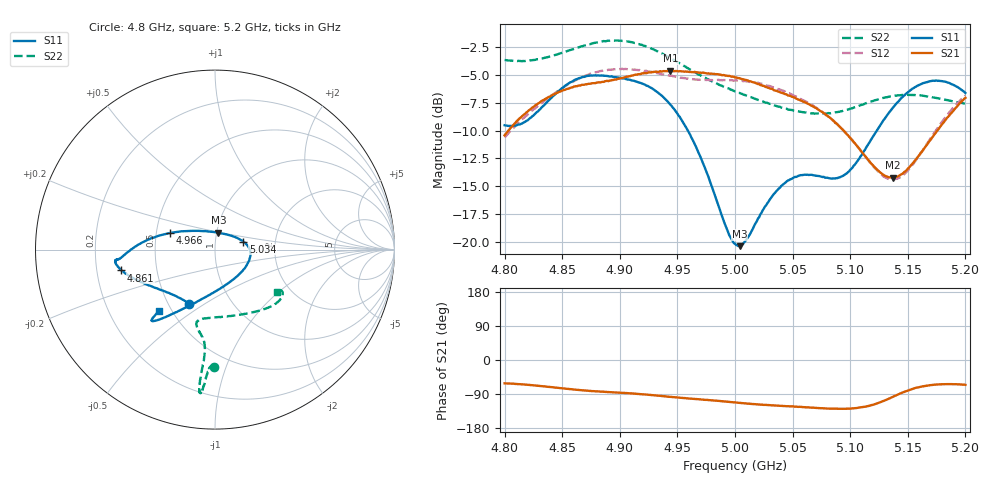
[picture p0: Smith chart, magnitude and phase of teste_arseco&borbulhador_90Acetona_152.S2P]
! Network Analyzer HP8722D
! Hewlett-Packard
! Data name: Linha & Wilkinson
! Saver's name: Rodrigo Anjos
! Comments: Teste da utilização de aquisição
! continua pelo VNA HP8722D
! Time and date: 17/4/2025 12:19
!  Frequency  S11  S21  S12  S22
# HZ  S  MA R 50
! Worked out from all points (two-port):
!   401 points, 4.8 GHz to 5.2 GHz, reference 50 ohm
!   highest |S21| = -4.63 dB at 4.944 GHz (marker M1); lowest = -14.2 dB at 5.137 GHz (marker M2)
!   |S21| within 3 dB of the highest: 4.828 GHz to 5.064 GHz (235.5 MHz wide, 4.76 % of centre); 5.194461 GHz to end of sweep
!   lowest |S11| = -20.4 dB at 5.004 GHz (marker M3), VSWR 1.21, Z = 51.1 + j9.63 ohm
!   |S11| at or under -10 dB: 4.959 GHz to 5.123 GHz (164 MHz wide, 3.25 % of centre)
!   |S22| runs from -8.5 to -1.9 dB; largest |S21 - S12| = 0.88
!   S11 on the Smith chart (normalised r, x): 4.8 GHz: 0.64, -0.43; 4.861 GHz: 0.31, -0.10; 4.966 GHz: 0.59, +0.12; 5.034 GHz: 1.37, +0.13; 5.2 GHz: 0.42, -0.37
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4.8e9  0.334 -115.4  0.3007 -61.6  0.2947 -175.7  0.6564 -90.3
4.819e9  0.35 -135.5  0.3819 -65.2  0.3687 -174.9  0.6509 -91.9
4.861e9  0.5348 -167.5  0.4996 -78.2  0.5308 -178.1  0.7395 -94.4
4.867e9  0.5488 -169.9  0.5081 -79.8  0.5486 -179.2  0.757 -94.5
4.899e9  0.5464 -174.3  0.5402 -86.1  0.5967 174.4  0.8019 -96.0
4.934e9  0.4644 179.7  0.5813 -94.3  0.5725 171.0  0.713 -96.4
4.944e9  0.4133 174.9  0.5871 -97.4  0.5572 171.2  0.6702 -96.2
4.966e9  0.2682 159.9  0.5787 -102.9  0.5361 173.1  0.5753 -95.7
4.993e9  0.1137 116.0  0.5584 -110.1  0.533 175.3  0.4916 -98.3
5e9  0.09794 93.0  0.5481 -112.0  0.5317 175.3  0.4742 -99.8
5.004e9  0.09547 78.2  0.544 -113.0  0.53 175.3  0.4669 -100.5
5.034e9  0.1645 15.9  0.4797 -120.0  0.4935 174.0  0.4102 -103.8
5.05e9  0.193 0.1  0.448 -122.8  0.4574 173.3  0.3908 -99.5
5.067e9  0.1997 -18.0  0.4075 -125.8  0.4119 173.1  0.3776 -90.4
5.086e9  0.1927 -48.3  0.3482 -128.6  0.3473 173.3  0.3807 -75.7
5.097e9  0.203 -70.6  0.3047 -128.6  0.3058 174.6  0.3919 -66.8
5.122e9  0.31 -109.4  0.2144 -115.8  0.2127 -170.7  0.4333 -49.4
5.134e9  0.3824 -119.1  0.1946 -101.5  0.1908 -154.5  0.4495 -43.3
5.137e9  0.3998 -120.9  0.1942 -97.3  0.1904 -149.7  0.4526 -42.0
5.15e9  0.4698 -126.6  0.213 -80.6  0.2085 -130.5  0.4575 -37.2
5.17e9  0.5278 -131.0  0.2883 -66.2  0.293 -112.4  0.4482 -32.6
5.2e9  0.4667 -132.4  0.4437 -65.5  0.4548 -107.4  0.4165 -34.3
